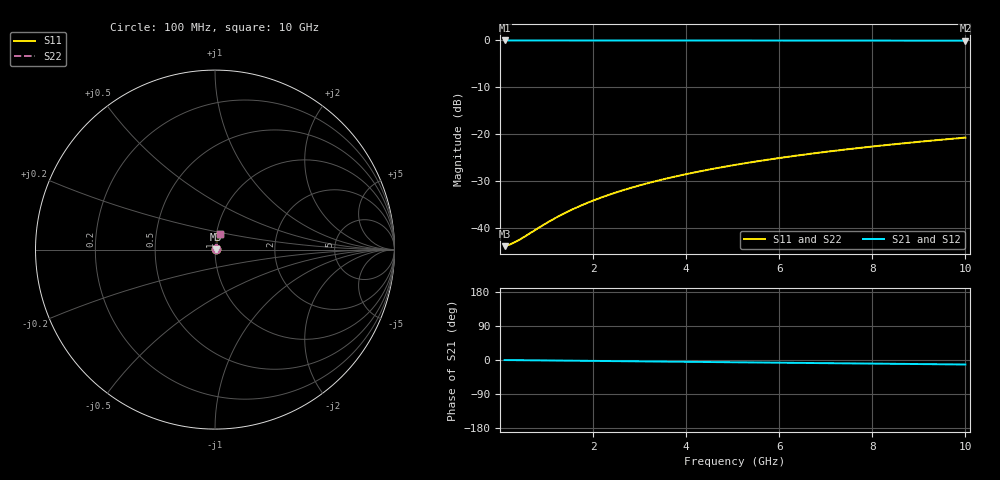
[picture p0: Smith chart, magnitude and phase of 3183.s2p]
# Hz S RI R 50.00
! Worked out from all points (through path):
!   100 points, 100 MHz to 10 GHz, reference 50 ohm
!   highest |S21| = -0.06 dB at 100 MHz (marker M1); lowest = -0.1 dB at 10 GHz (marker M2)
!   group delay of S21, straight-line fit = 3.3 ps
!   lowest |S11| = -43.8 dB at 100 MHz (marker M3), VSWR 1.01, Z = 50.6 + j0.0928 ohm
!   |S11| at or under -10 dB: start of sweep to end of sweep
!   |S22| runs from -43.8 to -20.7 dB; largest |S21 - S12| = 0
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1e8  0.00641 0.000916  0.9936 -0.00206  0.9936 -0.00206  0.00641 0.000916
2e8  0.00646 0.00183  0.9935 -0.00413  0.9935 -0.00413  0.00646 0.00183
3e8  0.0065 0.00275  0.9935 -0.00619  0.9935 -0.00619  0.0065 0.00275
4e8  0.00654 0.00366  0.9934 -0.00825  0.9934 -0.00825  0.00654 0.00366
9e8  0.00675 0.00824  0.9932 -0.0186  0.9932 -0.0186  0.00675 0.00824
1.2e9  0.00691 0.011  0.993 -0.0247  0.993 -0.0247  0.00691 0.011
1.5e9  0.00709 0.0137  0.9927 -0.0309  0.9927 -0.0309  0.00709 0.0137
1.8e9  0.00731 0.0165  0.9925 -0.0371  0.9925 -0.0371  0.00731 0.0165
2.1e9  0.00755 0.0192  0.9921 -0.0433  0.9921 -0.0433  0.00755 0.0192
2.5e9  0.00793 0.0228  0.9916 -0.0515  0.9916 -0.0515  0.00793 0.0228
2.9e9  0.00837 0.0265  0.991 -0.0597  0.991 -0.0597  0.00837 0.0265
3.4e9  0.009 0.031  0.9902 -0.07  0.9902 -0.07  0.009 0.031
3.8e9  0.00957 0.0346  0.9894 -0.0782  0.9894 -0.0782  0.00957 0.0346
4.2e9  0.0102 0.0382  0.9886 -0.0864  0.9886 -0.0864  0.0102 0.0382
4.6e9  0.0109 0.0418  0.9877 -0.0946  0.9877 -0.0946  0.0109 0.0418
5.1e9  0.0118 0.0463  0.9864 -0.1048  0.9864 -0.1048  0.0118 0.0463
5.9e9  0.0135 0.0534  0.9841 -0.121  0.9841 -0.121  0.0135 0.0534
6.7e9  0.0155 0.0604  0.9815 -0.1373  0.9815 -0.1373  0.0155 0.0604
7.5e9  0.0176 0.0674  0.9786 -0.1534  0.9786 -0.1534  0.0176 0.0674
8.4e9  0.0203 0.0751  0.9749 -0.1715  0.9749 -0.1715  0.0203 0.0751
9.2e9  0.0229 0.0819  0.9713 -0.1874  0.9713 -0.1874  0.0229 0.0819
1e10  0.0258 0.0886  0.9675 -0.2033  0.9675 -0.2033  0.0258 0.0886
